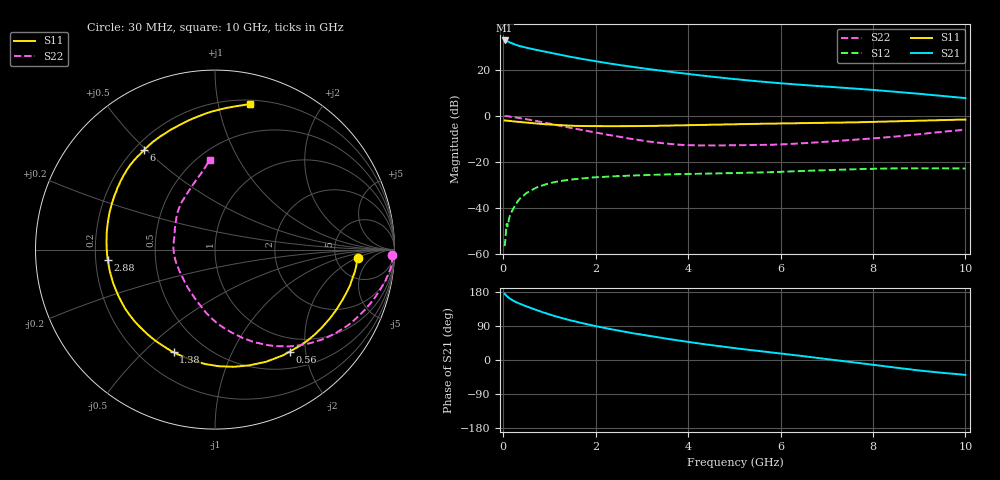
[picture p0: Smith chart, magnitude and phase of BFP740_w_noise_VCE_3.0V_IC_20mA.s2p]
! Infineon Technologies  Discrete & RF Semiconductors
! BFP740
! VCE =  3.0 V,  IC =  20 mA
! Common Emitter S-Parameters:  Jan 2016
# GHz  S  MA  R  50
!  f  S11  S21  S12  S22
! GHz  MAG  ANG  MAG  ANG  MAG  ANG  MAG  ANG
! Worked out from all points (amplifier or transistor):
!   229 points, 30 MHz to 10 GHz, reference 50 ohm
!   highest |S21| = 32.7 dB at 30 MHz (marker M1)
!   |S21| within 3 dB of that: start of sweep to 472.2 MHz
!   unconditionally stable (mu >= 1): 6.516 GHz to end of sweep
!   at 280 MHz: K = 0.23, MSG = 34.4 dB, |S12| = -38.1 dB
!   at 1.78 GHz: K = 0.44, MSG = 25.7 dB, |S12| = -27.0 dB
!   at 10 GHz: K = 1.02, MAG = 14.4 dB, |S12| = -22.8 dB
!   lowest NFmin = 0.68 dB at 450 MHz
!   S11 on the Smith chart (normalised r, x): 30 MHz: 8.25, -2.06; 560 MHz: 0.76, -1.71; 1.38 GHz: 0.34, -0.62; 2.88 GHz: 0.25, -0.05; 6 GHz: 0.24, +0.49; 10 GHz: 0.23, +1.24
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0.03  0.7954 -3.3  43.08 174.9  0.0015 90.8  0.9893 -1.8
0.06  0.7926 -6.6  42.47 170.8  0.0033 109.4  0.9889 -4.2
0.12  0.7794 -13.4  40.08 164.0  0.0055 88.1  0.9706 -8.9
0.2  0.7638 -21.4  36.98 157.5  0.009 79.1  0.945 -14.0
0.26  0.7528 -27.1  35.06 153.7  0.0116 76.4  0.9258 -17.5
0.34  0.7399 -34.4  32.96 149.4  0.0152 73.1  0.8998 -21.9
0.56  0.7041 -53.8  29.12 138.8  0.0229 63.5  0.8283 -33.0
0.8  0.6727 -73.5  25.89 128.2  0.0299 54.9  0.7471 -44.1
1  0.6501 -88.1  23.51 120.2  0.0347 48.2  0.6801 -52.5
1.2  0.63 -101.3  21.38 112.9  0.0382 43.3  0.6179 -59.9
1.38  0.6167 -112.0  19.7 107.0  0.0406 39.1  0.5685 -65.9
1.7  0.6031 -128.8  17.19 97.4  0.0442 33.5  0.4923 -75.6
2.2  0.5972 -150.9  14.16 84.3  0.0477 26.9  0.3991 -90.2
2.56  0.5972 -163.9  12.46 76.1  0.0499 23.0  0.3457 -99.8
2.88  0.6008 -174.5  11.23 69.2  0.0513 20.1  0.305 -109.0
3.4  0.6111 170.6  9.579 58.8  0.0534 16.3  0.2595 -126.1
4.2  0.6363 151.5  7.668 44.2  0.0555 11.4  0.2295 -154.6
5.1  0.6646 136.2  6.136 29.9  0.0579 7.7  0.2312 179.8
6  0.6809 125.4  5.093 17.1  0.0613 4.9  0.2404 160.2
6.8  0.7 116.0  4.439 5.7  0.0656 1.2  0.2666 145.1
8.4  0.7603 93.8  3.392 -18.8  0.0725 -9.3  0.3495 116.3
10  0.8339 76.4  2.427 -39.3  0.0724 -18.6  0.5005 93.4
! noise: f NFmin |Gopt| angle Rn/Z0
0.45  0.68  0.07  3  0.22
0.9  0.68  0.08  19  0.21
1.5  0.71  0.08  38  0.21
1.9  0.73  0.08  49  0.2
2.4  0.76  0.08  60  0.19
3.5  0.86  0.08  134  0.18
5.5  1.03  0.18  -118  0.16
10  1.39  0.51  -67  0.23
